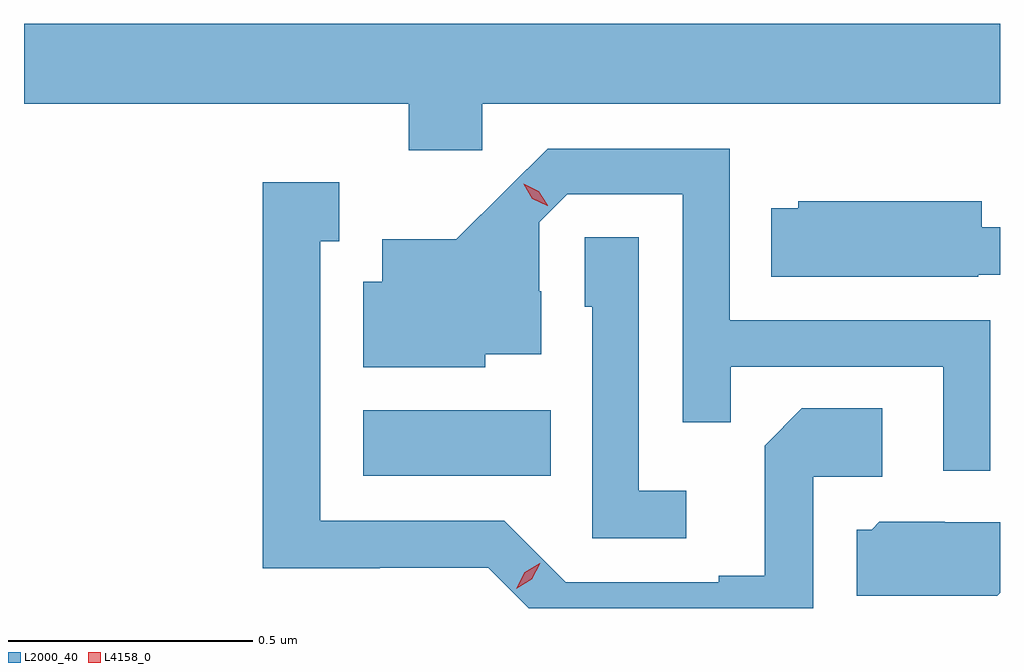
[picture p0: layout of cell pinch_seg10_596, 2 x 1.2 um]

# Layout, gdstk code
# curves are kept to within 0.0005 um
import gdstk
lib = gdstk.Library(unit=1e-6, precision=1e-09)
def R(c, l, rs):  # rectangles x0, y0, x1, y1
    for r in rs: c.add(gdstk.rectangle(r[:2], r[2:], *l))
def P(c, l, *ps):  # polygons
    for p in ps: c.add(gdstk.Polygon(p, *l))
L2000_40 = (2000, 40)
L4158_0 = (4158, 0)

pinch_seg10_596 = lib.new_cell('pinch_seg10_596')
R(pinch_seg10_596, L2000_40, [(358.262,1259.594,358.646,1259.728)])
P(pinch_seg10_596, L2000_40, [(358.506,1260.356),(359.567,1260.356),(359.567,1260.52),(357.567,1260.52),(357.567,1260.356),(358.355,1260.356),(358.355,1260.261),(358.506,1260.261)],
  [(359.547,1259.913),(359.013,1259.913),(359.013,1260.264),(358.64,1260.264),(358.453,1260.079),(358.301,1260.079),(358.301,1259.992),(358.262,1259.992),(358.262,1259.816),(358.512,1259.816),(358.512,1259.843),(358.627,1259.843),(358.627,1259.972),(358.623,1259.972),(358.623,1260.114),(358.68,1260.171),(358.917,1260.171),(358.917,1259.704),(359.015,1259.704),(359.015,1259.817),(359.451,1259.817),(359.451,1259.604),(359.547,1259.604)],
  [(359.184,1259.592),(359.326,1259.592),(359.326,1259.732),(359.161,1259.732),(359.085,1259.656),(359.085,1259.389),(358.991,1259.389),(358.991,1259.376),(358.677,1259.376),(358.551,1259.502),(358.174,1259.502),(358.174,1260.075),(358.213,1260.075),(358.213,1260.196),(358.056,1260.196),(358.056,1259.405),(358.296,1259.405),(358.296,1259.406),(358.518,1259.406),(358.601,1259.323),(359.184,1259.323)],
  [(359.522,1260.006),(359.567,1260.006),(359.567,1260.103),(359.53,1260.103),(359.53,1260.157),(359.154,1260.157),(359.154,1260.142),(359.098,1260.142),(359.098,1260.002),(359.522,1260.002)],
  [(358.924,1259.563),(358.827,1259.563),(358.827,1260.083),(358.716,1260.083),(358.716,1259.94),(358.731,1259.94),(358.731,1259.466),(358.924,1259.466)],
  [(359.567,1259.354),(359.567,1259.499),(359.454,1259.499),(359.454,1259.5),(359.32,1259.5),(359.304,1259.484),(359.273,1259.484),(359.273,1259.348),(359.561,1259.348)])
P(pinch_seg10_596, L4158_0, [(358.639,1260.147),(358.609,1260.162),(358.591,1260.191),(358.591,1260.192),(358.591,1260.192),(358.622,1260.177),(358.64,1260.148),(358.64,1260.147)],
  [(358.576,1259.363),(358.576,1259.363),(358.593,1259.396),(358.624,1259.415),(358.625,1259.415),(358.625,1259.415),(358.607,1259.382),(358.576,1259.363)])

lib.write_gds('pinch_seg10_596.gds')
